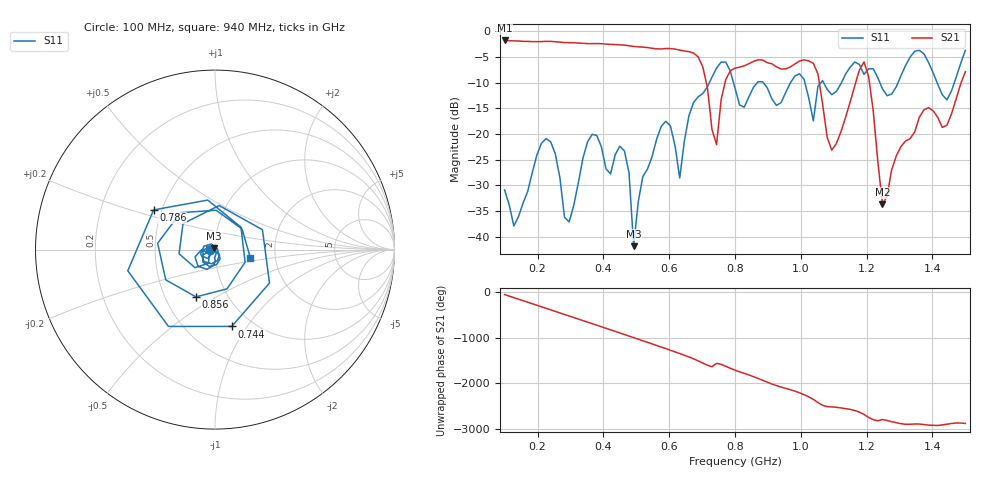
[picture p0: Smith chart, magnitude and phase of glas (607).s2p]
! NanoVNA-App
! Date: 2025-09-25 16:00:12
! Start: 100MHz Stop: 1,5GHz Points: 101
! S-Parameter data: F S11 S21 S12 S22
# Hz S RI R 50
!  Frequency  S11_Real  S11_Imag  S21_Real  S21_Imag  S12_Real  S12_Imag  S22_Real  S22_Imag
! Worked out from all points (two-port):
!   101 points, 100 MHz to 1.5 GHz, reference 50 ohm
!   highest |S21| = -1.80 dB at 100 MHz (marker M1); lowest = -33.7 dB at 1.248 GHz (marker M2)
!   |S21| within 3 dB of the highest: start of sweep to 684.4 MHz
!   lowest |S11| = -41.9 dB at 492 MHz (marker M3), VSWR 1.02, Z = 49.5 + j0.612 ohm
!   |S11| at or under -10 dB: start of sweep to 722.3 MHz; 795.4 MHz to 867.9 MHz (72.59 MHz wide, 8.73 % of centre); 885.8 MHz to 968.8 MHz (83.04 MHz wide, 8.96 % of centre) (the widest 3 of 7)
!   S12 and S22 are empty: the file has one direction only
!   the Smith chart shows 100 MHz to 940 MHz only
!   S11 on the Smith chart (normalised r, x): 100 MHz: 0.95, -0.01; 744 MHz: 0.80, -0.85; 786 MHz: 0.45, +0.24; 856 MHz: 0.71, -0.41; 940 MHz: 1.48, -0.14
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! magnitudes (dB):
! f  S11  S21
! 100 MHz  -30.9  -1.8
! 128 MHz  -37.9  -1.9
! 226 MHz  -20.9  -2.0
! 296 MHz  -37.2  -2.2
! 338 MHz  -24.7  -2.4
! 464 MHz  -23.3  -2.7
! 492 MHz  -41.9  -3.0
! 576 MHz  -18.5  -3.5
! 632 MHz  -28.6  -3.7
! 702 MHz  -12.2  -6.9
! 744 MHz  -7.2  -22.1
! 786 MHz  -7.8  -7.7
! 800 MHz  -11.1  -7.2
! 856 MHz  -10.9  -5.9
! 940 MHz  -13.9  -7.4
! 996 MHz  -8.3  -5.8
! 1.038 GHz  -17.5  -6.2
! 1.094 GHz  -12.4  -23.2
! 1.192 GHz  -8.4  -6.0
! 1.248 GHz  -11.2  -33.7
! 1.276 GHz  -12.2  -27.0
! 1.5 GHz  -3.7  -7.9
